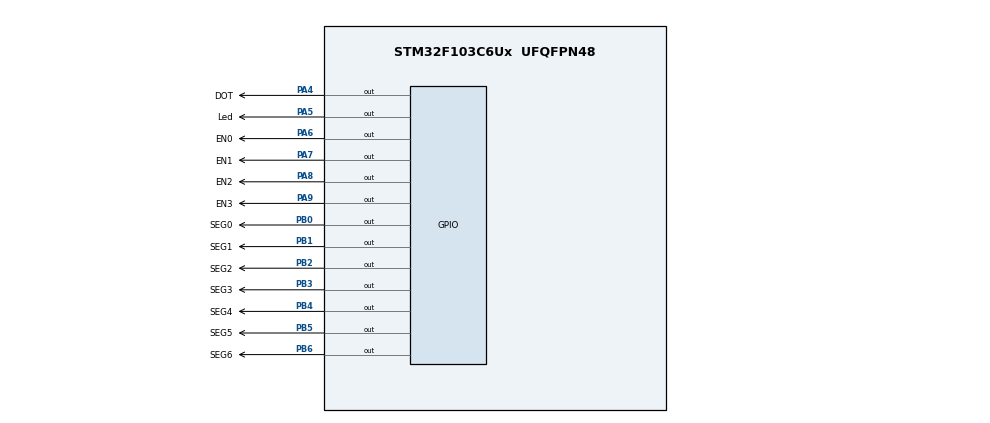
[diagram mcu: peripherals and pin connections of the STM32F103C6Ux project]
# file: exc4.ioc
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Mcu.Family=STM32F1
Mcu.Name=STM32F103C6Ux
Mcu.Package=UFQFPN48
NVIC.PriorityGroup=NVIC_PRIORITYGROUP_4
NVIC.TIM2_IRQn=true\:0\:0\:false\:false\:true\:true\:true
PA4.GPIO_Label=DOT
PA4.Signal=GPIO_Output
PA5.GPIO_Label=Led
PA5.Signal=GPIO_Output
PA6.GPIO_Label=EN0
PA6.Signal=GPIO_Output
PA7.GPIO_Label=EN1
PA7.Signal=GPIO_Output
PA8.GPIO_Label=EN2
PA8.Signal=GPIO_Output
PA9.GPIO_Label=EN3
PA9.Signal=GPIO_Output
PB0.GPIO_Label=SEG0
PB0.Signal=GPIO_Output
PB1.GPIO_Label=SEG1
PB1.Signal=GPIO_Output
PB2.GPIO_Label=SEG2
PB2.Signal=GPIO_Output
PB3.GPIO_Label=SEG3
PB3.Signal=GPIO_Output
PB4.GPIO_Label=SEG4
PB4.Signal=GPIO_Output
PB5.GPIO_Label=SEG5
PB5.Signal=GPIO_Output
PB6.GPIO_Label=SEG6
PB6.Signal=GPIO_Output
ProjectManager.HeapSize=0x200
ProjectManager.StackSize=0x400
ProjectManager.TargetToolchain=STM32CubeIDE
RCC.APB1Freq_Value=8000000
RCC.APB2Freq_Value=8000000
TIM2.Period=9
TIM2.Prescaler=7999
VP_SYS_VS_ND.Mode=No_Debug
VP_TIM2_VS_ClockSourceINT.Mode=Internal
board=custom

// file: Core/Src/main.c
/* USER CODE BEGIN Header */
/**
  ******************************************************************************
  * @file           : main.c
  * @brief          : Main program body
  ******************************************************************************
  * @attention
  *
  * <h2><center>&copy; Copyright (c) 2026 STMicroelectronics.
  * All rights reserved.</center></h2>
  *
  * This software component is licensed by ST under BSD 3-Clause license,
  * the "License"; You may not use this file except in compliance with the
  * License. You may obtain a copy of the License at:
  *                        opensource.org/licenses/BSD-3-Clause
  *
  ******************************************************************************
  */
/* USER CODE END Header */
#include "main.h"

TIM_HandleTypeDef htim2;

void SystemClock_Config(void);
static void MX_GPIO_Init(void);
static void MX_TIM2_Init(void);

/* USER CODE BEGIN 0 */

void display7SEG(int num) {
    HAL_GPIO_WritePin(SEG0_GPIO_Port, SEG0_Pin, GPIO_PIN_SET);
    HAL_GPIO_WritePin(SEG1_GPIO_Port, SEG1_Pin, GPIO_PIN_SET);
    HAL_GPIO_WritePin(SEG2_GPIO_Port, SEG2_Pin, GPIO_PIN_SET);
    HAL_GPIO_WritePin(SEG3_GPIO_Port, SEG3_Pin, GPIO_PIN_SET);
    HAL_GPIO_WritePin(SEG4_GPIO_Port, SEG4_Pin, GPIO_PIN_SET);
    HAL_GPIO_WritePin(SEG5_GPIO_Port, SEG5_Pin, GPIO_PIN_SET);
    HAL_GPIO_WritePin(SEG6_GPIO_Port, SEG6_Pin, GPIO_PIN_SET);

    switch (num) {
        case 0:
            HAL_GPIO_WritePin(SEG0_GPIO_Port, SEG0_Pin, GPIO_PIN_RESET);
            HAL_GPIO_WritePin(SEG1_GPIO_Port, SEG1_Pin, GPIO_PIN_RESET);
            HAL_GPIO_WritePin(SEG2_GPIO_Port, SEG2_Pin, GPIO_PIN_RESET);
            HAL_GPIO_WritePin(SEG3_GPIO_Port, SEG3_Pin, GPIO_PIN_RESET);
            HAL_GPIO_WritePin(SEG4_GPIO_Port, SEG4_Pin, GPIO_PIN_RESET);
            HAL_GPIO_WritePin(SEG5_GPIO_Port, SEG5_Pin, GPIO_PIN_RESET);
            break;

        case 1:
            HAL_GPIO_WritePin(SEG1_GPIO_Port, SEG1_Pin, GPIO_PIN_RESET);
            HAL_GPIO_WritePin(SEG2_GPIO_Port, SEG2_Pin, GPIO_PIN_RESET);
            break;

        case 2:
            HAL_GPIO_WritePin(SEG0_GPIO_Port, SEG0_Pin, GPIO_PIN_RESET);
            HAL_GPIO_WritePin(SEG1_GPIO_Port, SEG1_Pin, GPIO_PIN_RESET);
            HAL_GPIO_WritePin(SEG3_GPIO_Port, SEG3_Pin, GPIO_PIN_RESET);
            HAL_GPIO_WritePin(SEG4_GPIO_Port, SEG4_Pin, GPIO_PIN_RESET);
            HAL_GPIO_WritePin(SEG6_GPIO_Port, SEG6_Pin, GPIO_PIN_RESET);
            break;

        case 3:
            HAL_GPIO_WritePin(SEG0_GPIO_Port, SEG0_Pin, GPIO_PIN_RESET);
            HAL_GPIO_WritePin(SEG1_GPIO_Port, SEG1_Pin, GPIO_PIN_RESET);
            HAL_GPIO_WritePin(SEG2_GPIO_Port, SEG2_Pin, GPIO_PIN_RESET);
            HAL_GPIO_WritePin(SEG3_GPIO_Port, SEG3_Pin, GPIO_PIN_RESET);
            HAL_GPIO_WritePin(SEG6_GPIO_Port, SEG6_Pin, GPIO_PIN_RESET);
            break;

        case 4:
            HAL_GPIO_WritePin(SEG1_GPIO_Port, SEG1_Pin, GPIO_PIN_RESET);
            HAL_GPIO_WritePin(SEG2_GPIO_Port, SEG2_Pin, GPIO_PIN_RESET);
            HAL_GPIO_WritePin(SEG5_GPIO_Port, SEG5_Pin, GPIO_PIN_RESET);
            HAL_GPIO_WritePin(SEG6_GPIO_Port, SEG6_Pin, GPIO_PIN_RESET);
            break;

        case 5:
            HAL_GPIO_WritePin(SEG0_GPIO_Port, SEG0_Pin, GPIO_PIN_RESET);
            HAL_GPIO_WritePin(SEG2_GPIO_Port, SEG2_Pin, GPIO_PIN_RESET);
            HAL_GPIO_WritePin(SEG3_GPIO_Port, SEG3_Pin, GPIO_PIN_RESET);
            HAL_GPIO_WritePin(SEG5_GPIO_Port, SEG5_Pin, GPIO_PIN_RESET);
            HAL_GPIO_WritePin(SEG6_GPIO_Port, SEG6_Pin, GPIO_PIN_RESET);
            break;

        case 6:
            HAL_GPIO_WritePin(SEG0_GPIO_Port, SEG0_Pin, GPIO_PIN_RESET);
            HAL_GPIO_WritePin(SEG2_GPIO_Port, SEG2_Pin, GPIO_PIN_RESET);
            HAL_GPIO_WritePin(SEG3_GPIO_Port, SEG3_Pin, GPIO_PIN_RESET);
            HAL_GPIO_WritePin(SEG4_GPIO_Port, SEG4_Pin, GPIO_PIN_RESET);
            HAL_GPIO_WritePin(SEG5_GPIO_Port, SEG5_Pin, GPIO_PIN_RESET);
            HAL_GPIO_WritePin(SEG6_GPIO_Port, SEG6_Pin, GPIO_PIN_RESET);
            break;

        case 7:
            HAL_GPIO_WritePin(SEG0_GPIO_Port, SEG0_Pin, GPIO_PIN_RESET);
            HAL_GPIO_WritePin(SEG1_GPIO_Port, SEG1_Pin, GPIO_PIN_RESET);
            HAL_GPIO_WritePin(SEG2_GPIO_Port, SEG2_Pin, GPIO_PIN_RESET);
            break;

        case 8:
            HAL_GPIO_WritePin(SEG0_GPIO_Port, SEG0_Pin, GPIO_PIN_RESET);
            HAL_GPIO_WritePin(SEG1_GPIO_Port, SEG1_Pin, GPIO_PIN_RESET);
            HAL_GPIO_WritePin(SEG2_GPIO_Port, SEG2_Pin, GPIO_PIN_RESET);
            HAL_GPIO_WritePin(SEG3_GPIO_Port, SEG3_Pin, GPIO_PIN_RESET);
            HAL_GPIO_WritePin(SEG4_GPIO_Port, SEG4_Pin, GPIO_PIN_RESET);
            HAL_GPIO_WritePin(SEG5_GPIO_Port, SEG5_Pin, GPIO_PIN_RESET);
            HAL_GPIO_WritePin(SEG6_GPIO_Port, SEG6_Pin, GPIO_PIN_RESET);
            break;

        case 9:
            HAL_GPIO_WritePin(SEG0_GPIO_Port, SEG0_Pin, GPIO_PIN_RESET);
            HAL_GPIO_WritePin(SEG1_GPIO_Port, SEG1_Pin, GPIO_PIN_RESET);
            HAL_GPIO_WritePin(SEG2_GPIO_Port, SEG2_Pin, GPIO_PIN_RESET);
            HAL_GPIO_WritePin(SEG3_GPIO_Port, SEG3_Pin, GPIO_PIN_RESET);
            HAL_GPIO_WritePin(SEG5_GPIO_Port, SEG5_Pin, GPIO_PIN_RESET);
            HAL_GPIO_WritePin(SEG6_GPIO_Port, SEG6_Pin, GPIO_PIN_RESET);
            break;

        default:
            break;
    }
}

const int MAX_LED = 4;
int index_led = 0;
int led_buffer[4] = {1, 2, 3, 4};
void update7SEG(int index) {
    switch (index) {
        case 0:
            display7SEG(led_buffer[0]);
            HAL_GPIO_WritePin(EN0_GPIO_Port, EN0_Pin, GPIO_PIN_RESET);
            break;
        case 1:
            display7SEG(led_buffer[1]);
            HAL_GPIO_WritePin(EN1_GPIO_Port, EN1_Pin, GPIO_PIN_RESET);
            break;
        case 2:
            display7SEG(led_buffer[2]);
            HAL_GPIO_WritePin(EN2_GPIO_Port, EN2_Pin, GPIO_PIN_RESET);
            break;
        case 3:
            display7SEG(led_buffer[3]);
            HAL_GPIO_WritePin(EN3_GPIO_Port, EN3_Pin, GPIO_PIN_RESET);
            break;
        default:
            break;
    }
}

/* USER CODE END 0 */

int main(void)
{

  /* MCU Configuration--------------------------------------------------------*/

  /* Reset of all peripherals, Initializes the Flash interface and the Systick. */
  HAL_Init();

  /* Configure the system clock */
  SystemClock_Config();

  /* Initialize all configured peripherals */
  MX_GPIO_Init();
  MX_TIM2_Init();
  /* USER CODE BEGIN 2 */
  HAL_TIM_Base_Start_IT(&htim2);
  /* USER CODE END 2 */

  /* Infinite loop */
  while (1)
  {

  }
}

void SystemClock_Config(void)
{
  RCC_OscInitTypeDef RCC_OscInitStruct = {0};
  RCC_ClkInitTypeDef RCC_ClkInitStruct = {0};

  /** Initializes the RCC Oscillators according to the specified parameters
  * in the RCC_OscInitTypeDef structure.
  */
  RCC_OscInitStruct.OscillatorType = RCC_OSCILLATORTYPE_HSI;
  RCC_OscInitStruct.HSIState = RCC_HSI_ON;
  RCC_OscInitStruct.HSICalibrationValue = RCC_HSICALIBRATION_DEFAULT;
  RCC_OscInitStruct.PLL.PLLState = RCC_PLL_NONE;
  if (HAL_RCC_OscConfig(&RCC_OscInitStruct) != HAL_OK)
  {
    Error_Handler();
  }
  /** Initializes the CPU, AHB and APB buses clocks
  */
  RCC_ClkInitStruct.ClockType = RCC_CLOCKTYPE_HCLK|RCC_CLOCKTYPE_SYSCLK
                              |RCC_CLOCKTYPE_PCLK1|RCC_CLOCKTYPE_PCLK2;
  RCC_ClkInitStruct.SYSCLKSource = RCC_SYSCLKSOURCE_HSI;
  RCC_ClkInitStruct.AHBCLKDivider = RCC_SYSCLK_DIV1;
  RCC_ClkInitStruct.APB1CLKDivider = RCC_HCLK_DIV1;
  RCC_ClkInitStruct.APB2CLKDivider = RCC_HCLK_DIV1;

  if (HAL_RCC_ClockConfig(&RCC_ClkInitStruct, FLASH_LATENCY_0) != HAL_OK)
  {
    Error_Handler();
  }
}

static void MX_TIM2_Init(void)
{

  TIM_ClockConfigTypeDef sClockSourceConfig = {0};
  TIM_MasterConfigTypeDef sMasterConfig = {0};

  htim2.Instance = TIM2;
  htim2.Init.Prescaler = 7999;
  htim2.Init.CounterMode = TIM_COUNTERMODE_UP;
  htim2.Init.Period = 9;
  htim2.Init.ClockDivision = TIM_CLOCKDIVISION_DIV1;
  htim2.Init.AutoReloadPreload = TIM_AUTORELOAD_PRELOAD_DISABLE;
  if (HAL_TIM_Base_Init(&htim2) != HAL_OK)
  {
    Error_Handler();
  }
  sClockSourceConfig.ClockSource = TIM_CLOCKSOURCE_INTERNAL;
  if (HAL_TIM_ConfigClockSource(&htim2, &sClockSourceConfig) != HAL_OK)
  {
    Error_Handler();
  }
  sMasterConfig.MasterOutputTrigger = TIM_TRGO_RESET;
  sMasterConfig.MasterSlaveMode = TIM_MASTERSLAVEMODE_DISABLE;
  if (HAL_TIMEx_MasterConfigSynchronization(&htim2, &sMasterConfig) != HAL_OK)
  {
    Error_Handler();
  }

}

static void MX_GPIO_Init(void)
{
  GPIO_InitTypeDef GPIO_InitStruct = {0};

  /* GPIO Ports Clock Enable */
  __HAL_RCC_GPIOA_CLK_ENABLE();
  __HAL_RCC_GPIOB_CLK_ENABLE();

  /*Configure GPIO pin Output Level */
  HAL_GPIO_WritePin(GPIOA, DOT_Pin|Led_Pin|EN0_Pin|EN1_Pin
                          |EN2_Pin|EN3_Pin, GPIO_PIN_RESET);

  /*Configure GPIO pin Output Level */
  HAL_GPIO_WritePin(GPIOB, SEG0_Pin|SEG1_Pin|SEG2_Pin|SEG3_Pin
                          |SEG4_Pin|SEG5_Pin|SEG6_Pin, GPIO_PIN_RESET);

  /*Configure GPIO pins : DOT_Pin Led_Pin EN0_Pin EN1_Pin
                           EN2_Pin EN3_Pin */
  GPIO_InitStruct.Pin = DOT_Pin|Led_Pin|EN0_Pin|EN1_Pin
                          |EN2_Pin|EN3_Pin;
  GPIO_InitStruct.Mode = GPIO_MODE_OUTPUT_PP;
  GPIO_InitStruct.Pull = GPIO_NOPULL;
  GPIO_InitStruct.Speed = GPIO_SPEED_FREQ_LOW;
  HAL_GPIO_Init(GPIOA, &GPIO_InitStruct);

  /*Configure GPIO pins : SEG0_Pin SEG1_Pin SEG2_Pin SEG3_Pin
                           SEG4_Pin SEG5_Pin SEG6_Pin */
  GPIO_InitStruct.Pin = SEG0_Pin|SEG1_Pin|SEG2_Pin|SEG3_Pin
                          |SEG4_Pin|SEG5_Pin|SEG6_Pin;
  GPIO_InitStruct.Mode = GPIO_MODE_OUTPUT_PP;
  GPIO_InitStruct.Pull = GPIO_NOPULL;
  GPIO_InitStruct.Speed = GPIO_SPEED_FREQ_LOW;
  HAL_GPIO_Init(GPIOB, &GPIO_InitStruct);

}

/* USER CODE BEGIN 4 */
int counter_DOT = 100;
int counter_7SEG = 25;

void HAL_TIM_PeriodElapsedCallback(TIM_HandleTypeDef *htim)
{
	counter_DOT--;
	if(counter_DOT <= 0){
		counter_DOT = 100;
		HAL_GPIO_TogglePin(DOT_GPIO_Port, DOT_Pin);
	}

	counter_7SEG--;
	if(counter_7SEG <= 0){
		counter_7SEG = 25;
		HAL_GPIO_WritePin(EN0_GPIO_Port, EN0_Pin, GPIO_PIN_SET);
		HAL_GPIO_WritePin(EN1_GPIO_Port, EN1_Pin, GPIO_PIN_SET);
		HAL_GPIO_WritePin(EN2_GPIO_Port, EN2_Pin, GPIO_PIN_SET);
		HAL_GPIO_WritePin(EN3_GPIO_Port, EN3_Pin, GPIO_PIN_SET);

		update7SEG(index_led++);

		if(index_led >= MAX_LED) index_led = 0;
	}
}
/* USER CODE END 4 */

void Error_Handler(void)
{
  __disable_irq();
  while (1)
  {
  }
}

/************************ (C) COPYRIGHT STMicroelectronics *****END OF FILE****/
